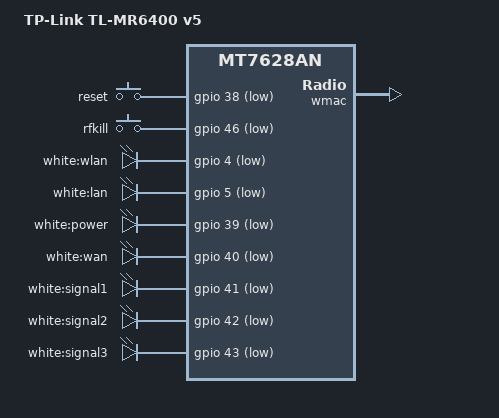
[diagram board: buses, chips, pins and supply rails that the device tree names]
// SPDX-License-Identifier: GPL-2.0-or-later OR MIT

#include "mt7628an_tplink_8m.dtsi"

/ {
	compatible = "tplink,tl-mr6400-v5", "mediatek,mt7628an-soc";
	model = "TP-Link TL-MR6400 v5";

	aliases {
		led-boot = &led_power;
		led-failsafe = &led_power;
		led-running = &led_power;
		led-upgrade = &led_power;
	};

	keys {
		compatible = "gpio-keys";

		reset {
			label = "reset";
			gpios = <&gpio 38 GPIO_ACTIVE_LOW>;
			linux,code = <KEY_RESTART>;
		};

		rfkill {
			label = "rfkill";
			gpios = <&gpio 46 GPIO_ACTIVE_LOW>;
			linux,code = <KEY_RFKILL>;
		};
	};

	leds {
		compatible = "gpio-leds";

		wlan {
			label = "white:wlan";
			gpios = <&gpio 4 GPIO_ACTIVE_LOW>;
			linux,default-trigger = "phy0tpt";
		};

		lan {
			label = "white:lan";
			gpios = <&gpio 5 GPIO_ACTIVE_LOW>;
		};

		led_power: power {
			label = "white:power";
			gpios = <&gpio 39 GPIO_ACTIVE_LOW>;
		};

		wan {
			label = "white:wan";
			gpios = <&gpio 40 GPIO_ACTIVE_LOW>;
		};

		signal1 {
			label = "white:signal1";
			gpios = <&gpio 41 GPIO_ACTIVE_LOW>;
		};

		signal2 {
			label = "white:signal2";
			gpios = <&gpio 42 GPIO_ACTIVE_LOW>;
		};

		signal3 {
			label = "white:signal3";
			gpios = <&gpio 43 GPIO_ACTIVE_LOW>;
		};
	};
};

&state_default {
	gpio {
		groups = "i2c", "p0led_an", "p1led_an", "p2led_an", "p3led_an", "p4led_an", "uart1", "wdt";
		function = "gpio";
	};
};

&esw {
	mediatek,portmap = <0x37>;
	mediatek,portdisable = <0x30>;
};

&wmac {
	mtd-mac-address = <&factory 0x1f100>;
};

&ethernet {
	mtd-mac-address = <&factory 0x1f100>;
};
